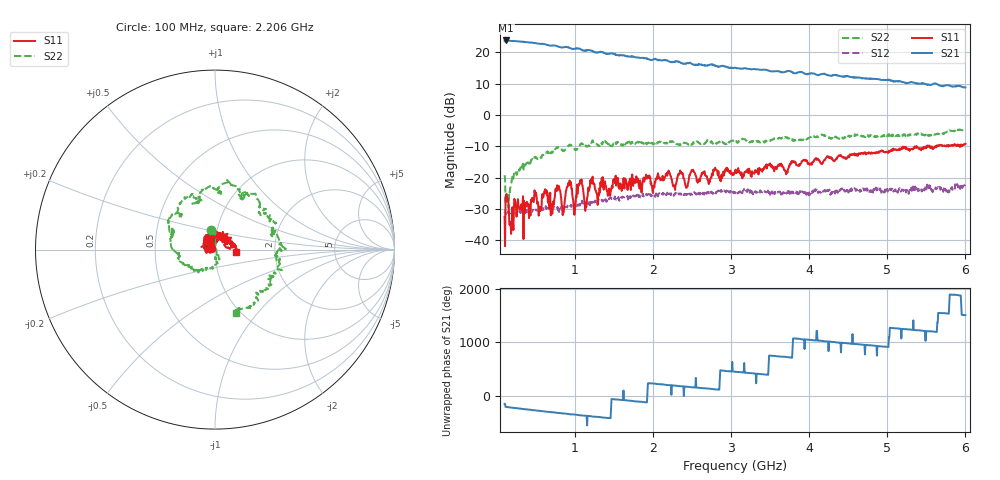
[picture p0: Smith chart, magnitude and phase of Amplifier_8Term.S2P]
!Created with skrf (http://scikit-rf.org).
# MHz S RI R 50.0
!freq ReS11 ImS11 ReS21 ImS21 ReS12 ImS12 ReS22 ImS22
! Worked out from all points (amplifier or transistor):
!   1001 points, 100 MHz to 6 GHz, reference 50 ohm
!   highest |S21| = 23.7 dB at 117.7 MHz (marker M1)
!   |S21| within 3 dB of that: start of sweep to 1.092 GHz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
!   unconditionally stable (mu >= 1): start of sweep to end of sweep
!   at 1.079 GHz: K = 1.26, MAG = 21.6 dB, |S12| = -28.6 dB
!   at 3.05 GHz: K = 1.45, MAG = 15.8 dB, |S12| = -24.6 dB
!   at 6 GHz: K = 1.72, MAG = 10.5 dB, |S12| = -22.1 dB
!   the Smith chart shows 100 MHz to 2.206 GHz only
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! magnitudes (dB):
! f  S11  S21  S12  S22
! 100 MHz  -32.5  23.5  -31.3  -19.2
! 117.7 MHz  -25.9  23.7  -31.2  -25.5
! 188.5 MHz  -36.1  23.5  -30.8  -21.4
! 253.4 MHz  -32.4  23.5  -30.8  -19.1
! 477.6 MHz  -26.8  22.9  -30.5  -14.1
! 542.5 MHz  -29.2  22.7  -30.6  -13.9
! 619.2 MHz  -23.7  22.5  -29.5  -11.9
! 701.8 MHz  -28.4  22.1  -29.9  -11.7
! 778.5 MHz  -24.0  21.9  -29.3  -10.4
! 849.3 MHz  -31.3  21.5  -29.8  -11.3
! 926 MHz  -22.4  21.4  -28.7  -9.9
! 990.9 MHz  -31.7  21.1  -28.6  -10.7
! 1.085 GHz  -20.6  20.8  -28.6  -9.0
! 1.138 GHz  -28.2  20.6  -27.8  -9.7
! 1.221 GHz  -20.5  20.4  -28.0  -8.3
! 1.292 GHz  -28.7  19.9  -27.3  -9.8
! 1.357 GHz  -19.8  19.9  -27.1  -8.6
! 2.071 GHz  -19.6  17.4  -25.1  -8.8
! 3.05 GHz  -18.4  15.0  -24.6  -8.4
! 4.035 GHz  -15.7  13.3  -24.8  -6.9
! 5.021 GHz  -11.4  11.0  -23.4  -6.8
! 6 GHz  -9.2  8.8  -22.1  -5.4
